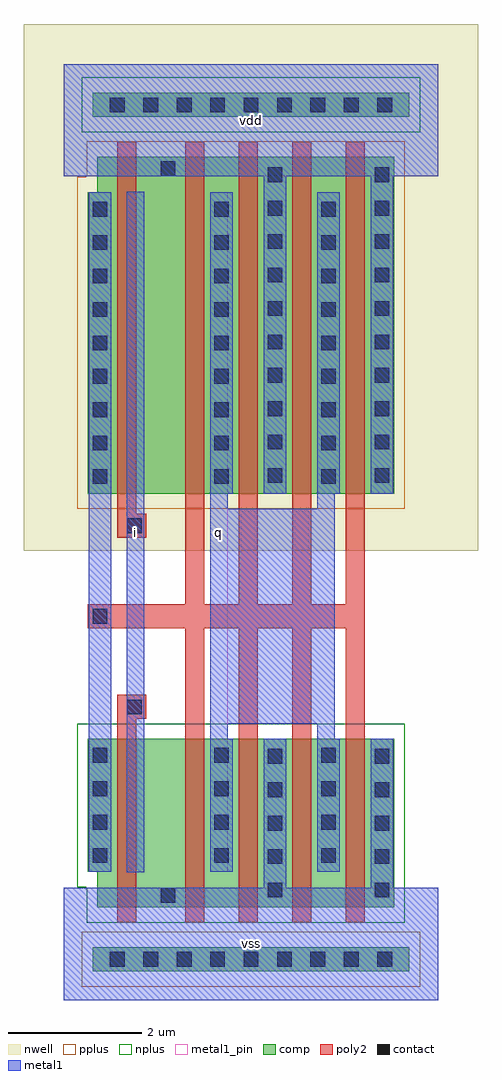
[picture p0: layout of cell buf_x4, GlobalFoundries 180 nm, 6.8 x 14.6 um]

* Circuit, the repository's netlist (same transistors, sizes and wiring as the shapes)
* buf_x4
.subckt buf_x4 vdd vss i q
Mn1 ni i vss vss nfet_03v3 l=0.28um w=2.52um
Mn2_0 vss ni q vss nfet_03v3 l=0.28um w=2.52um
Mn2_1 q ni vss vss nfet_03v3 l=0.28um w=2.52um
Mn2_2 vss ni q vss nfet_03v3 l=0.28um w=2.52um
Mn2_3 q ni vss vss nfet_03v3 l=0.28um w=2.52um
Mp1 ni i vdd vdd pfet_03v3 l=0.28um w=5.04um
Mp2_0 vdd ni q vdd pfet_03v3 l=0.28um w=5.04um
Mp2_1 q ni vdd vdd pfet_03v3 l=0.28um w=5.04um
Mp2_2 vdd ni q vdd pfet_03v3 l=0.28um w=5.04um
Mp2_3 q ni vdd vdd pfet_03v3 l=0.28um w=5.04um
.ends buf_x4

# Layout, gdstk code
import gdstk
lib = gdstk.Library(unit=1e-6, precision=1e-09)
def R(c, l, rs):  # rectangles x0, y0, x1, y1
    for r in rs: c.add(gdstk.rectangle(r[:2], r[2:], *l))
def A(c, l, x, y, w, h, nx, ny, dx, dy):  # array of equal rectangles
    R(c, l, [(x+i*dx, y+j*dy, x+i*dx+w, y+j*dy+h) for i in range(nx) for j in range(ny)])
def P(c, l, *ps):  # polygons
    for p in ps: c.add(gdstk.Polygon(p, *l))
nwell = (21, 0)
comp = (22, 0)
poly2 = (30, 0)
pplus = (31, 0)
nplus = (32, 0)
contact = (33, 0)
metal1 = (34, 0)
metal1_pin = (34, 10)

buf_x4 = lib.new_cell('buf_x4')
R(buf_x4, nwell, [(-0.6,6.72,6.2,14.6)])
R(buf_x4, comp, [(0.43,0.43,5.17,0.79), (0.43,13.21,5.17,13.57)])
P(buf_x4, comp, [(0.5,1.385),(0.5,1.915),(0.36,1.915),(0.36,3.905),(4.94,3.905),(4.94,1.385)],
  [(0.36,7.575),(0.36,12.085),(0.5,12.085),(0.5,12.615),(4.94,12.615),(4.94,7.575)])
P(buf_x4, poly2, [(1.82,1.165),(1.82,5.56),(0.36,5.56),(0.36,5.92),(1.82,5.92),(1.82,12.835),(2.1,12.835),(2.1,5.92),(2.62,5.92),(2.62,12.835),(2.9,12.835),(2.9,5.92),(3.42,5.92),(3.42,12.835),(3.7,12.835),(3.7,5.92),(4.22,5.92),(4.22,12.835),(4.5,12.835),(4.5,1.165),(4.22,1.165),(4.22,5.56),(3.7,5.56),(3.7,1.165),(3.42,1.165),(3.42,5.56),(2.9,5.56),(2.9,1.165),(2.62,1.165),(2.62,5.56),(2.1,5.56),(2.1,1.165)],
  [(0.8,6.915),(0.8,12.835),(1.08,12.835),(1.08,7.275),(1.235,7.275),(1.235,6.915)],
  [(0.8,1.165),(0.8,4.565),(1.235,4.565),(1.235,4.205),(1.08,4.205),(1.08,1.165)])
R(buf_x4, pplus, [(0.27,0.2,5.33,1.02)])
P(buf_x4, pplus, [(0.2,7.345),(0.2,12.315),(0.34,12.315),(0.34,12.845),(5.1,12.845),(5.1,7.345)])
R(buf_x4, nplus, [(0.27,12.98,5.33,13.8)])
P(buf_x4, nplus, [(0.34,1.155),(0.34,1.685),(0.2,1.685),(0.2,4.135),(5.1,4.135),(5.1,1.155)])
A(buf_x4, contact, 0.69, 0.5, 0.22, 0.22, 9, 2, 0.5, 12.78)
A(buf_x4, contact, 3.05, 1.535, 0.22, 0.22, 1, 5, 0, 0.5)
A(buf_x4, contact, 4.65, 1.535, 0.22, 0.22, 1, 5, 0, 0.5)
A(buf_x4, contact, 0.43, 2.05, 0.22, 0.22, 1, 4, 0, 0.5)
A(buf_x4, contact, 2.25, 2.05, 0.22, 0.22, 1, 4, 0, 0.5)
A(buf_x4, contact, 3.85, 2.05, 0.22, 0.22, 1, 4, 0, 0.5)
A(buf_x4, contact, 0.43, 7.72, 0.22, 0.22, 1, 9, 0, 0.5)
A(buf_x4, contact, 2.25, 7.72, 0.22, 0.22, 1, 9, 0, 0.5)
A(buf_x4, contact, 3.85, 7.72, 0.22, 0.22, 1, 9, 0, 0.5)
A(buf_x4, contact, 3.05, 7.735, 0.22, 0.22, 1, 10, 0, 0.5)
A(buf_x4, contact, 4.65, 7.735, 0.22, 0.22, 1, 10, 0, 0.5)
R(buf_x4, contact, [(1.45,1.455,1.67,1.675), (0.945,4.275,1.165,4.495), (0.43,5.63,0.65,5.85), (0.945,6.985,1.165,7.205), (1.45,12.325,1.67,12.545)])
R(buf_x4, metal1, [(0.94,1.91,1.2,12.09), (0.37,1.915,0.71,12.085)])
P(buf_x4, metal1, [(2.99,7.575),(2.99,12.32),(0,12.32),(0,14),(5.6,14),(5.6,12.32),(4.93,12.32),(4.93,7.575),(4.59,7.575),(4.59,12.32),(3.33,12.32),(3.33,7.575)],
  [(0,0),(0,1.68),(2.99,1.68),(2.99,3.905),(3.33,3.905),(3.33,1.68),(4.59,1.68),(4.59,3.905),(4.93,3.905),(4.93,1.68),(5.6,1.68),(5.6,0)],
  [(2.19,1.915),(2.19,12.085),(2.53,12.085),(2.53,7.575),(2.45,7.575),(2.45,7.345),(3.79,7.345),(3.79,12.085),(4.13,12.085),(4.13,7.575),(4.05,7.575),(4.05,3.905),(4.13,3.905),(4.13,1.915),(3.79,1.915),(3.79,4.135),(2.45,4.135),(2.45,3.905),(2.53,3.905),(2.53,1.915)])
R(buf_x4, metal1_pin, [(0,0,5.6,1.68), (0.94,1.91,1.2,12.09), (2.19,1.915,2.45,12.085), (0,12.32,5.6,14)])
buf_x4.add(gdstk.Label('vdd', (2.8,13.16), layer=34, texttype=10))
buf_x4.add(gdstk.Label('vss', (2.8,0.84), layer=34, texttype=10))
buf_x4.add(gdstk.Label('i', (1.07,7), layer=34, texttype=10))
buf_x4.add(gdstk.Label('q', (2.32,7), layer=34, texttype=10))

lib.write_gds('buf_x4.gds')
